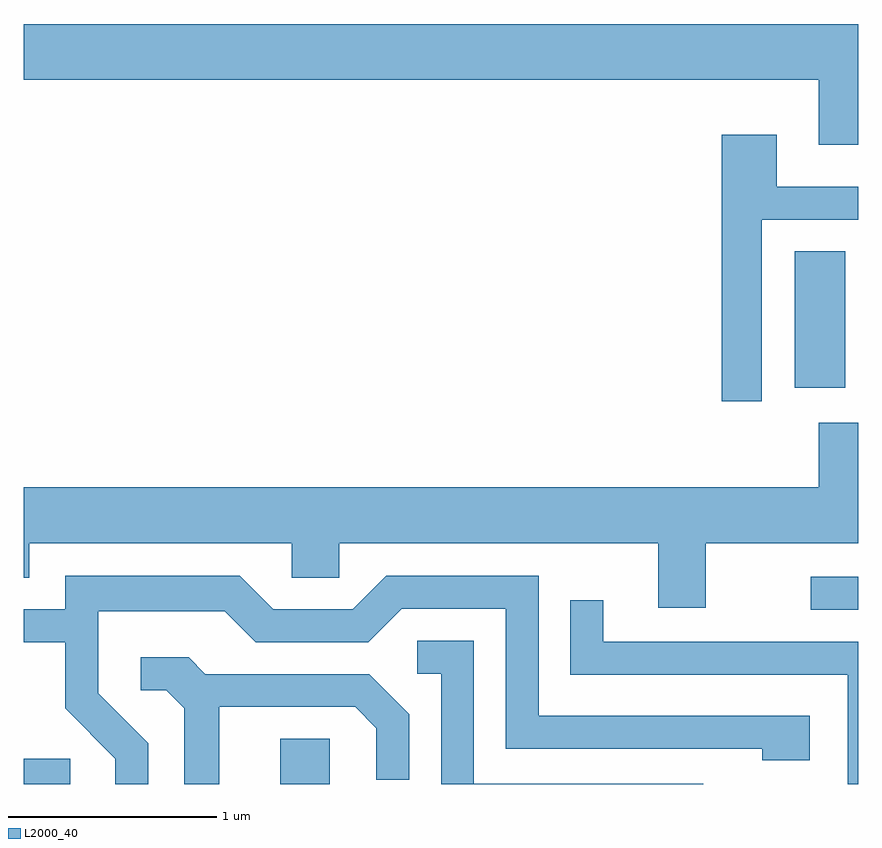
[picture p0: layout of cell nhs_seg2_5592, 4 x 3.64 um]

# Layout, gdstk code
import gdstk
lib = gdstk.Library(unit=1e-6, precision=1e-09)
def R(c, l, rs):  # rectangles x0, y0, x1, y1
    for r in rs: c.add(gdstk.rectangle(r[:2], r[2:], *l))
def P(c, l, *ps):  # polygons
    for p in ps: c.add(gdstk.Polygon(p, *l))
L2000_40 = (2000, 40)

nhs_seg2_5592 = lib.new_cell('nhs_seg2_5592')
R(nhs_seg2_5592, L2000_40, [(349.611,1073.802,349.834,1073.924), (350.841,1073.802,351.079,1074.019), (353.383,1074.636,353.611,1074.794), (353.306,1075.701,353.549,1076.354)])
P(nhs_seg2_5592, L2000_40, [(353.611,1077.444),(349.611,1077.444),(349.611,1077.176),(353.421,1077.176),(353.421,1076.866),(353.611,1076.866)],
  [(353.149,1076.506),(353.611,1076.506),(353.611,1076.664),(353.219,1076.664),(353.219,1076.914),(352.956,1076.914),(352.956,1075.636),(353.149,1075.636)],
  [(352.879,1074.956),(353.611,1074.956),(353.611,1075.534),(353.421,1075.534),(353.421,1075.224),(349.611,1075.224),(349.611,1074.791),(349.639,1074.791),(349.639,1074.956),(350.896,1074.956),(350.896,1074.791),(351.124,1074.791),(351.124,1074.956),(352.651,1074.956),(352.651,1074.646),(352.879,1074.646)],
  [(350.209,1073.997),(349.969,1074.237),(349.969,1074.631),(350.574,1074.631),(350.724,1074.481),(351.262,1074.481),(351.422,1074.641),(351.921,1074.641),(351.921,1073.971),(353.151,1073.971),(353.151,1073.916),(353.379,1073.916),(353.379,1074.129),(352.079,1074.129),(352.079,1074.799),(351.349,1074.799),(351.189,1074.639),(350.807,1074.639),(350.647,1074.799),(349.811,1074.799),(349.811,1074.639),(349.611,1074.639),(349.611,1074.481),(349.811,1074.481),(349.811,1074.164),(350.051,1073.924),(350.051,1073.802),(350.209,1073.802)],
  [(353.611,1074.484),(352.389,1074.484),(352.389,1074.683),(352.231,1074.683),(352.231,1074.326),(353.561,1074.326),(353.561,1073.802),(353.611,1073.802)],
  [(352.868,1073.804),(351.769,1073.804),(351.769,1074.489),(351.498,1074.489),(351.498,1074.331),(351.611,1074.331),(351.611,1073.802),(352.868,1073.802)],
  [(350.549,1074.171),(351.199,1074.171),(351.301,1074.069),(351.301,1073.823),(351.459,1073.823),(351.459,1074.137),(351.267,1074.329),(350.482,1074.329),(350.402,1074.409),(350.173,1074.409),(350.173,1074.251),(350.294,1074.251),(350.381,1074.164),(350.381,1073.802),(350.549,1073.802)])

lib.write_gds('nhs_seg2_5592.gds')
